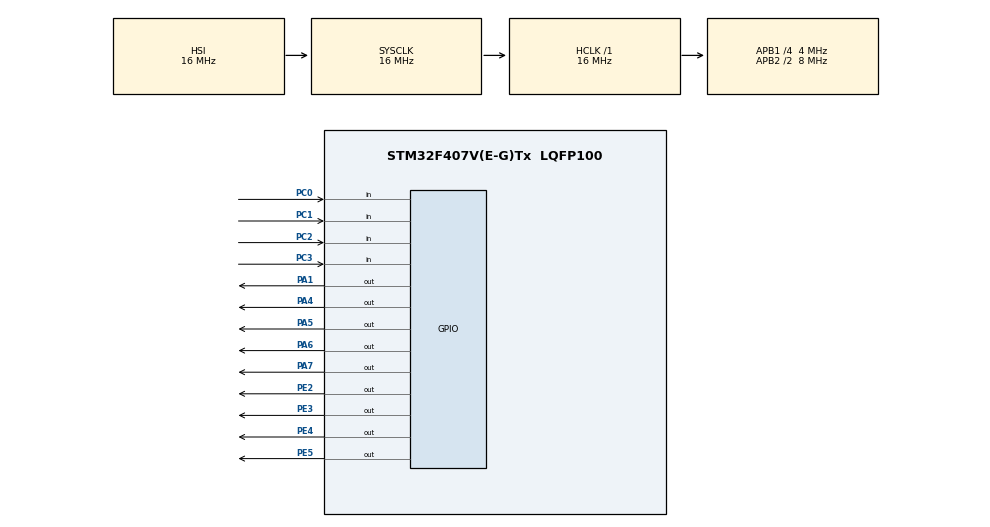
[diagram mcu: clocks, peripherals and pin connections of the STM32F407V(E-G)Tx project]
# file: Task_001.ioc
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Mcu.Family=STM32F4
Mcu.Name=STM32F407V(E-G)Tx
Mcu.Package=LQFP100
NVIC.PriorityGroup=NVIC_PRIORITYGROUP_4
NVIC.TIM6_DAC_IRQn=true\:15\:0\:true\:false\:true\:false\:true\:true
NVIC.TimeBase=TIM6_DAC_IRQn
NVIC.TimeBaseIP=TIM6
PA1.Signal=GPIO_Output
PA13.Mode=Serial_Wire
PA13.Signal=SYS_JTMS-SWDIO
PA14.Mode=Serial_Wire
PA14.Signal=SYS_JTCK-SWCLK
PA4.Signal=GPIO_Output
PA5.Signal=GPIO_Output
PA6.Signal=GPIO_Output
PA7.Signal=GPIO_Output
PC0.GPIO_PuPd=GPIO_PULLUP
PC0.Signal=GPIO_Input
PC1.GPIO_PuPd=GPIO_PULLUP
PC1.Signal=GPIO_Input
PC2.GPIO_PuPd=GPIO_PULLUP
PC2.Signal=GPIO_Input
PC3.GPIO_PuPd=GPIO_PULLUP
PC3.Signal=GPIO_Input
PE2.GPIO_PuPd=GPIO_NOPULL
PE2.Signal=GPIO_Output
PE3.GPIO_PuPd=GPIO_NOPULL
PE3.Signal=GPIO_Output
PE4.GPIO_PuPd=GPIO_NOPULL
PE4.Signal=GPIO_Output
PE5.GPIO_PuPd=GPIO_NOPULL
PE5.Signal=GPIO_Output
ProjectManager.HeapSize=0x200
ProjectManager.StackSize=0x400
ProjectManager.TargetToolchain=STM32CubeIDE
RCC.48MHZClocksFreq_Value=25000000
RCC.AHBFreq_Value=16000000
RCC.APB1CLKDivider=RCC_HCLK_DIV4
RCC.APB1Freq_Value=4000000
RCC.APB1TimFreq_Value=8000000
RCC.APB2CLKDivider=RCC_HCLK_DIV2
RCC.APB2Freq_Value=8000000
RCC.APB2TimFreq_Value=16000000
RCC.CortexFreq_Value=16000000
RCC.HCLKFreq_Value=16000000
RCC.HSE_VALUE=8000000
RCC.HSI_VALUE=16000000
RCC.LSE_VALUE=32768
RCC.PLLM=8
RCC.PLLN=50
RCC.SYSCLKFreq_VALUE=16000000
RCC.VCOOutputFreq_Value=100000000
RCC.VDD_VALUE=3.3
RTC.Date=16
RTC.Month=RTC_MONTH_OCTOBER
RTC.WeekDay=RTC_WEEKDAY_WEDNESDAY
RTC.Year=24
VP_RTC_VS_RTC_Activate.Mode=RTC_Enabled
VP_RTC_VS_RTC_Calendar.Mode=RTC_Calendar
VP_SYS_VS_tim6.Mode=TIM6
board=custom

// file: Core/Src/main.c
/* USER CODE BEGIN Header */
/**
  ******************************************************************************
  * @file           : main.c
  * @brief          : Main program body
  ******************************************************************************
  * @attention
  *
  * Copyright (c) 2024 STMicroelectronics.
  * All rights reserved.
  *
  * This software is licensed under terms that can be found in the LICENSE file
  * in the root directory of this software component.
  * If no LICENSE file comes with this software, it is provided AS-IS.
  *
  ******************************************************************************
  */
/* USER CODE END Header */
#include "main.h"

/* USER CODE BEGIN Includes */
#include <stdio.h>
#include <stdbool.h>
#include "FreeRTOS.h"
#include "task.h"
#include "queue.h"
#include "lcd.h"
#include "keypad.h"

/* USER CODE END Includes */

/* USER CODE BEGIN PD */
#define min(a, b) ((a) < (b) ? (a) : (b))

/* USER CODE END PD */

RTC_HandleTypeDef hrtc;

/* USER CODE BEGIN PV */
TaskHandle_t lcdTaskHandle;
TaskHandle_t keypadTaskHandle;
TaskHandle_t chronoTaskHandle;
TaskHandle_t timekeepingTaskHandle;
QueueHandle_t xQueue;  // Queue for sending keypress to the LCD task
RTC_HandleTypeDef hrtc;
enum Mode { TOD, SET_TIME_DATE, CHRONO } currentMode = TOD; // Mode tracking
bool chronoRunning = false;

// Time Variables
RTC_TimeTypeDef sTime;
RTC_DateTypeDef sDate;

char buffer[22];
uint32_t elapsedTime = 0, startTime = 0;

/* USER CODE END PV */

void SystemClock_Config(void);
static void MX_GPIO_Init(void);
static void MX_RTC_Init(void);
/* USER CODE BEGIN PFP */
void set_time(void);
static void task_LCD(void* parameters);
static void task_Keypad(void* parameters);
static void task_Chronograph(void* parameters);
static void vTask_Timekeeping(void* parameters);
int calculate_weekday(int day, int month, int year);
void displayTOD(void);
void displaySetTimeDate(void);
void displayChrono(void);
int getMaxDaysInMonth(int month, int year);
void setTodTime(RTC_TimeTypeDef syncTime, RTC_DateTypeDef syncDate);
// Constants for day names
const char *weekday[] = {"Mon", "Tue", "Wed", "Thu", "Fri","Sat", "Sun"};
// Static variables to track changes in time and date
static int prevDate = -1, prevMonth = -1, prevYear = -1;
static int prevHour = -1, prevMinute = -1, prevSecond = -1;

/* USER CODE END PFP */

int main(void)
{

  /* MCU Configuration--------------------------------------------------------*/

  /* Reset of all peripherals, Initializes the Flash interface and the Systick. */

  HAL_Init();

  /* Configure the system clock */
  SystemClock_Config();

  /* Initialize all configured peripherals */
  MX_GPIO_Init();
  MX_RTC_Init();
  /* USER CODE BEGIN 2 */
  // Initialize the LCD
  LCD_Init();
  //LCD_Send_String("Hello, World!");

  // Create a queue for communication between tasks
  xQueue = xQueueCreate(5, sizeof(char));  // Queue to hold keypresses
  configASSERT(xQueue != NULL);

  xTaskCreate(task_LCD, "LCD_Task", 200, NULL, 1, &lcdTaskHandle);
  xTaskCreate(task_Keypad, "Keypad_Task", 200, NULL, 1, &keypadTaskHandle);
  xTaskCreate(vTask_Timekeeping, "Timekeeping_Task", 200, NULL, 1, &timekeepingTaskHandle);
  xTaskCreate(task_Chronograph, "Chrono_Task", 200, NULL, 1, &chronoTaskHandle);

  //start the FreeRTOS scheduler
  vTaskStartScheduler();

  //if the control comes here, then the launch of the scheduler has failed due to insufficient memory in heap
  /* USER CODE END 2 */

  /* Infinite loop */
  while (1)
  {

  }
}

void SystemClock_Config(void)
{
  RCC_OscInitTypeDef RCC_OscInitStruct = {0};
  RCC_ClkInitTypeDef RCC_ClkInitStruct = {0};

  /** Configure the main internal regulator output voltage
  */
  __HAL_RCC_PWR_CLK_ENABLE();
  __HAL_PWR_VOLTAGESCALING_CONFIG(PWR_REGULATOR_VOLTAGE_SCALE1);

  /** Initializes the RCC Oscillators according to the specified parameters
  * in the RCC_OscInitTypeDef structure.
  */
  RCC_OscInitStruct.OscillatorType = RCC_OSCILLATORTYPE_HSI|RCC_OSCILLATORTYPE_LSI;
  RCC_OscInitStruct.HSIState = RCC_HSI_ON;
  RCC_OscInitStruct.HSICalibrationValue = RCC_HSICALIBRATION_DEFAULT;
  RCC_OscInitStruct.LSIState = RCC_LSI_ON;
  RCC_OscInitStruct.PLL.PLLState = RCC_PLL_NONE;
  if (HAL_RCC_OscConfig(&RCC_OscInitStruct) != HAL_OK)
  {
    Error_Handler();
  }

  /** Initializes the CPU, AHB and APB buses clocks
  */
  RCC_ClkInitStruct.ClockType = RCC_CLOCKTYPE_HCLK|RCC_CLOCKTYPE_SYSCLK
                              |RCC_CLOCKTYPE_PCLK1|RCC_CLOCKTYPE_PCLK2;
  RCC_ClkInitStruct.SYSCLKSource = RCC_SYSCLKSOURCE_HSI;
  RCC_ClkInitStruct.AHBCLKDivider = RCC_SYSCLK_DIV1;
  RCC_ClkInitStruct.APB1CLKDivider = RCC_HCLK_DIV4;
  RCC_ClkInitStruct.APB2CLKDivider = RCC_HCLK_DIV2;

  if (HAL_RCC_ClockConfig(&RCC_ClkInitStruct, FLASH_LATENCY_0) != HAL_OK)
  {
    Error_Handler();
  }
}

static void MX_RTC_Init(void)
{

  RTC_TimeTypeDef sTime = {0};
  RTC_DateTypeDef sDate = {0};

  /** Initialize RTC Only
  */
  hrtc.Instance = RTC;
  hrtc.Init.HourFormat = RTC_HOURFORMAT_24;
  hrtc.Init.AsynchPrediv = 127;
  hrtc.Init.SynchPrediv = 255;
  hrtc.Init.OutPut = RTC_OUTPUT_DISABLE;
  hrtc.Init.OutPutPolarity = RTC_OUTPUT_POLARITY_HIGH;
  hrtc.Init.OutPutType = RTC_OUTPUT_TYPE_OPENDRAIN;
  if (HAL_RTC_Init(&hrtc) != HAL_OK)
  {
    Error_Handler();
  }

  /** Initialize RTC and set the Time and Date
  */
  sTime.Hours = 0x0;
  sTime.Minutes = 0x0;
  sTime.Seconds = 0x0;
  sTime.DayLightSaving = RTC_DAYLIGHTSAVING_NONE;
  sTime.StoreOperation = RTC_STOREOPERATION_RESET;
  if (HAL_RTC_SetTime(&hrtc, &sTime, RTC_FORMAT_BCD) != HAL_OK)
  {
    Error_Handler();
  }
  sDate.WeekDay = RTC_WEEKDAY_WEDNESDAY;
  sDate.Month = RTC_MONTH_OCTOBER;
  sDate.Date = 0x16;
  sDate.Year = 0x24;

  if (HAL_RTC_SetDate(&hrtc, &sDate, RTC_FORMAT_BCD) != HAL_OK)
  {
    Error_Handler();
  }

}

static void MX_GPIO_Init(void)
{
  GPIO_InitTypeDef GPIO_InitStruct = {0};

  /* GPIO Ports Clock Enable */
  __HAL_RCC_GPIOE_CLK_ENABLE();
  __HAL_RCC_GPIOC_CLK_ENABLE();
  __HAL_RCC_GPIOA_CLK_ENABLE();

  /*Configure GPIO pin Output Level */
  HAL_GPIO_WritePin(GPIOE, GPIO_PIN_2|GPIO_PIN_3|GPIO_PIN_4|GPIO_PIN_5, GPIO_PIN_RESET);

  /*Configure GPIO pin Output Level */
  HAL_GPIO_WritePin(GPIOA, GPIO_PIN_1|GPIO_PIN_4|GPIO_PIN_5|GPIO_PIN_6
                          |GPIO_PIN_7, GPIO_PIN_RESET);

  /*Configure GPIO pins : PE2 PE3 PE4 PE5 */
  GPIO_InitStruct.Pin = GPIO_PIN_2|GPIO_PIN_3|GPIO_PIN_4|GPIO_PIN_5;
  GPIO_InitStruct.Mode = GPIO_MODE_OUTPUT_PP;
  GPIO_InitStruct.Pull = GPIO_NOPULL;
  GPIO_InitStruct.Speed = GPIO_SPEED_FREQ_LOW;
  HAL_GPIO_Init(GPIOE, &GPIO_InitStruct);

  /*Configure GPIO pins : PC0 PC1 PC2 PC3 */
  GPIO_InitStruct.Pin = GPIO_PIN_0|GPIO_PIN_1|GPIO_PIN_2|GPIO_PIN_3;
  GPIO_InitStruct.Mode = GPIO_MODE_INPUT;
  GPIO_InitStruct.Pull = GPIO_PULLUP;
  HAL_GPIO_Init(GPIOC, &GPIO_InitStruct);

  /*Configure GPIO pins : PA1 PA4 PA5 PA6
                           PA7 */
  GPIO_InitStruct.Pin = GPIO_PIN_1|GPIO_PIN_4|GPIO_PIN_5|GPIO_PIN_6
                          |GPIO_PIN_7;
  GPIO_InitStruct.Mode = GPIO_MODE_OUTPUT_PP;
  GPIO_InitStruct.Pull = GPIO_NOPULL;
  GPIO_InitStruct.Speed = GPIO_SPEED_FREQ_LOW;
  HAL_GPIO_Init(GPIOA, &GPIO_InitStruct);

}

/* USER CODE BEGIN 4 */

/* Timekeeping Task */
void vTask_Timekeeping(void *pvParameters) {
    TickType_t xLastWakeTime = xTaskGetTickCount();
    const TickType_t xFrequency = pdMS_TO_TICKS(100);  // 1-second interval

    for (;;) {
        // Update current time and date values from the RTC every second
        HAL_RTC_GetTime(&hrtc, &sTime, RTC_FORMAT_BIN);
        HAL_RTC_GetDate(&hrtc, &sDate, RTC_FORMAT_BIN);

        // Signal the display task to update the time display
        xTaskNotifyGive(lcdTaskHandle);

        // Delay until the next second
        vTaskDelayUntil(&xLastWakeTime, xFrequency);
    }
}

/* LCD Task */
static void task_LCD(void* parameters) {
	while (1) {
		switch (currentMode) {
			case TOD:
				displayTOD();
				break;
			case SET_TIME_DATE:
				displaySetTimeDate();
				break;
			case CHRONO:
				displayChrono();
				break;
		}
		//vTaskDelay(pdMS_TO_TICKS(500));
	}
}

/* Keypad Task */
static void task_Keypad(void* parameters){
	char key;
	while (1) {
		key = Keypad_GetKey();
		if (key != '\0') {
			xQueueSend(xQueue, &key, portMAX_DELAY);
		}
		vTaskDelay(pdMS_TO_TICKS(100));
	}
}

// Chronograph Task: Manages chrono timing
static void task_Chronograph(void* parameters) {
    while (1) {
        if (chronoRunning) {
            elapsedTime = HAL_GetTick() - startTime;
        }
        vTaskDelay(pdMS_TO_TICKS(10));
    }
}

// Static variable to track if the TOD display needs full refresh
static bool isTodInitialized = false;

void displayTOD(void) {
	// Wait for notification from the timekeeping task
	ulTaskNotifyTake(pdTRUE, portMAX_DELAY);

	// Array of weekday names
	char *weekday[] = {"Sun", "Mon", "Tue", "Wed", "Thu", "Fri", "Sat"};
	int currentWeekday = calculate_weekday(sDate.Date, sDate.Month, 2000 + sDate.Year);

	// Force an update of all fields if initializing
	if (!isTodInitialized) {
		prevDate = -1;  // Force date to update
		prevMonth = -1;
		prevYear = -1;
		prevHour = -1;
		prevMinute = -1;
		prevSecond = -1;
		isTodInitialized = true;
	}

	// 1. Update Date if it Changes
	if (sDate.Date != prevDate || sDate.Month != prevMonth || sDate.Year != prevYear) {
		sprintf(buffer, "   %s %02d/%02d/%04d   ", weekday[currentWeekday], sDate.Month, sDate.Date, 2000 + sDate.Year);
		LCD_Set_Cursor(0, 0);
		LCD_Send_String(buffer);

		// Store the new date values
		prevDate = sDate.Date;
		prevMonth = sDate.Month;
		prevYear = sDate.Year;
	}

	// 2. Update Hour and Minute if they Change
	int currentHour = sTime.Hours % 12 == 0 ? 12 : sTime.Hours % 12;
	if (currentHour != prevHour || sTime.Minutes != prevMinute) {
		sprintf(buffer, "    %02d:%02d %s    ", currentHour, sTime.Minutes, sTime.Hours < 12 ? "AM" : "PM");
		LCD_Set_Cursor(1, 0);
		LCD_Send_String(buffer);

		// Store the new hour and minute values
		prevHour = currentHour;
		prevMinute = sTime.Minutes;
	}

	// 3. Update Seconds Every Second
	if (sTime.Seconds != prevSecond) {
		sprintf(buffer, "    %02d:%02d:%02d %s    ", currentHour, sTime.Minutes, sTime.Seconds, sTime.Hours < 12 ? "AM" : "PM");
		LCD_Set_Cursor(1, 6);  // Update only the seconds part of the time
		LCD_Send_String(buffer + 6); // Send only the seconds part

		// Store the new second value
		prevSecond = sTime.Seconds;
	}

	// Display static control options only once
	// Display control options (once only)
	LCD_Set_Cursor(2, 0);
	LCD_Send_String("[A]Set    [C]Indiglo");
	LCD_Set_Cursor(3, 0);
	LCD_Send_String("[B]Mode   [D]Stp/Rst");

	// Handle user input for mode switching
	char key;
	if (xQueueReceive(xQueue, &key, 0)) {
		switch (key) {
			case 'A': currentMode = SET_TIME_DATE; break;
			case 'B': currentMode = CHRONO; break;
			case 'D':
				chronoRunning = !chronoRunning;
				if (chronoRunning) startTime = HAL_GetTick() - elapsedTime;
				break;
		}
	}

	// No need for delay here; waiting is handled by the task notification

}

// Display Set Time and Date Function
void displaySetTimeDate(void) {
    RTC_TimeTypeDef newTime;
    RTC_DateTypeDef newDate;

    // Initialize newTime and newDate to the current time and date
    HAL_RTC_GetTime(&hrtc, &newTime, RTC_FORMAT_BIN);
    HAL_RTC_GetDate(&hrtc, &newDate, RTC_FORMAT_BIN);

    char buffer[64];
    char receivedKey;
    int editingField = 6;  // 0: hour, 1: minute, 2: second, 3: day, 4: month, 5: year, 6: format
    static int timeFormat = 1; // 1 for 24-hour format, 0 for 12-hour format
    TickType_t lastKeyPressTime = xTaskGetTickCount();  // Track last key press for timeout

    LCD_Clear();

    while (1) {
    	// Fetch current time for updating seconds display
		RTC_TimeTypeDef currentTime;
		HAL_RTC_GetTime(&hrtc, &currentTime, RTC_FORMAT_BIN);

        // Auto-exit if idle for 10 seconds
        if (xTaskGetTickCount() - lastKeyPressTime > pdMS_TO_TICKS(10000)) {
            currentMode = TOD;
            isTodInitialized = false;
            break;
        }

        // Display the time with live seconds update
		int displayHours = newTime.Hours;
		char *ampm = "";

		if (timeFormat == 0) {  // 12-hour format
			ampm = "AM";
			if (displayHours >= 12) {
				ampm = "PM";
				if (displayHours > 12) {
					displayHours -= 12;
				}
			} else if (displayHours == 0) {
				displayHours = 12;  // Midnight case
			}
			sprintf(buffer, "Time: %02d:%02d:%02d %s", displayHours, newTime.Minutes, currentTime.Seconds, ampm);
		} else {  // 12-hour format
			sprintf(buffer, "Time: %02d:%02d:%02d   ", newTime.Hours, newTime.Minutes, currentTime.Seconds);
		}

        LCD_Set_Cursor(0, 0);
        LCD_Send_String(buffer); // Update whole time display

        // Display Date
		sprintf(buffer, "Date: %02d/%02d/%04d", newDate.Month, newDate.Date, 2000 + newDate.Year);
		LCD_Set_Cursor(1, 0);
		LCD_Send_String(buffer);

        LCD_Set_Cursor(2, 0);
        sprintf(buffer, "[B]%s     [C]++",
                editingField == 0 ? "Hour  " :
                editingField == 1 ? "Min   " :
                editingField == 2 ? "Sec   " :
                editingField == 3 ? "Day   " :
                editingField == 4 ? "Month " :
                editingField == 5 ? "Year  " : "Format");
        LCD_Send_String(buffer);

        LCD_Set_Cursor(3, 0);
        LCD_Send_String("[A]Done       [D]--");

        // Handle Keypresses
        if (xQueueReceive(xQueue, &receivedKey, 0)) {
            lastKeyPressTime = xTaskGetTickCount();  // Reset timeout on key press

            if (receivedKey == 'A') {
                // Save the time and date, and exit the function
                LCD_Clear();
                // Before saving, store the current running second in newTime.Seconds
                newTime.Seconds = currentTime.Seconds; // Save the running seconds value

                newDate.WeekDay = calculate_weekday(newDate.Date, newDate.Month, 2000 + newDate.Year);
                HAL_RTC_SetDate(&hrtc, &newDate, RTC_FORMAT_BIN);
                HAL_RTC_SetTime(&hrtc, &newTime, RTC_FORMAT_BIN);

                currentMode = TOD;
                isTodInitialized = false;  // Reset TOD initialization flag

                // Optional: Signal the timekeeping task to refresh the TOD display
                xTaskNotifyGive(lcdTaskHandle);
                break; // Exit the time-setting mode

            } else if (receivedKey == 'B') { // Next field
                editingField = (editingField + 1) % 7;
            } else if (receivedKey == 'C' || receivedKey == 'D') { // Increase or decrease current field
                int increment = (receivedKey == 'C') ? 1 : -1;

                if (editingField == 0) {  // Hour
                    newTime.Hours = (newTime.Hours + increment + 24) % 24;
                } else if (editingField == 1) {  // Minute
                    newTime.Minutes = (newTime.Minutes + increment + 60) % 60;
                } else if (editingField == 2) {  // Second
                	// Reset the seconds to zero when editing the seconds field
					newTime.Seconds = 0;
					currentTime.Seconds = 0;  // Ensure running seconds are also reset to zero
					HAL_RTC_SetTime(&hrtc, &newTime, RTC_FORMAT_BIN);
                } else if (editingField == 3) {  // Day
                    int maxDays = getMaxDaysInMonth(newDate.Month, 2000 + newDate.Year);
                    newDate.Date = (newDate.Date + increment + maxDays) % maxDays;
                    if (newDate.Date == 0) newDate.Date = maxDays;
                } else if (editingField == 4) {  // Month
                    newDate.Month = (newDate.Month + increment + 12) % 12;
                    if (newDate.Month == 0) newDate.Month = 12;
                    newDate.Date = min(newDate.Date, getMaxDaysInMonth(newDate.Month, 2000 + newDate.Year)); // Adjust day if it exceeds max
                } else if (editingField == 5) {  // Year
                    newDate.Year = (newDate.Year + increment + 100) % 100;
                } else if (editingField == 6) {  // Format
                    timeFormat = !timeFormat;
                }
            }
        }

        vTaskDelay(pdMS_TO_TICKS(100)); // Delay for debouncing
    }
}

// Helper Function to Get Max Days in Month
int getMaxDaysInMonth(int month, int year) {
    switch (month) {
        case 4: case 6: case 9: case 11: return 30;
        case 2: return (year % 4 == 0 && (year % 100 != 0 || year % 400 == 0)) ? 29 : 28;
        default: return 31;
    }
}

// Display Chronograph Function
void displayChrono(void) {
    static bool displayInitialized = false;  // Display header once
    static uint32_t splitTimes[10];  // Array to store up to 10 split times
    static int splitCount = 0;       // Number of saved splits
    static int currentSplitIndex = -1;  // Index for viewing splits

    // Display header and controls once
    if (!displayInitialized) {
        LCD_Set_Cursor(0, 0);
        LCD_Send_String("    CHRONOGRAPH     ");
        LCD_Set_Cursor(2, 0);
        LCD_Send_String("[A]   [C] |         ");
        LCD_Set_Cursor(2, 3);
        LCD_Send_Data(LCD_CHAR_PLAY);  // Display the play icon
        LCD_Set_Cursor(2, 4);
        LCD_Send_Data(LCD_CHAR_PAUSE);  // Display the pause icon
        LCD_Set_Cursor(2, 9);
        LCD_Send_Data(LCD_CHAR_FLAG);  // Display the flag icon
        LCD_Set_Cursor(3, 0);
        LCD_Send_String("[B]   [D] |         ");
        LCD_Set_Cursor(3, 3);
        LCD_Send_Data(LCD_CHAR_MODE);
        LCD_Set_Cursor(3, 9);
        LCD_Send_Data(LCD_CHAR_RESET);
        displayInitialized = true;
    }

    // Calculate and display chrono time
    uint32_t chronoTime = chronoRunning ? (HAL_GetTick() - startTime) : elapsedTime;
    uint32_t minutes = (chronoTime / 60000) % 60;
    uint32_t seconds = (chronoTime / 1000) % 60;
    uint32_t tenths = (chronoTime / 100) % 10;
    sprintf(buffer, " %02lu:%02lu.%01lu  |", minutes, seconds, tenths);
    LCD_Set_Cursor(1, 0);
    LCD_Send_String(buffer);

    // Display split times in (1,11), (2,11), and (3,11)
    for (int i = 0; i < 3; i++) {
        int splitIndex = currentSplitIndex - (2 - i);
        if (splitIndex >= 0 && splitIndex < splitCount) {
            uint32_t split = splitTimes[splitIndex];
            uint32_t splitMin = (split / 60000) % 60;
            uint32_t splitSec = (split / 1000) % 60;
            uint32_t splitTenth = (split / 100) % 10;
            sprintf(buffer, "%02lu:%02lu.%01lu", splitMin, splitSec, splitTenth);
            LCD_Set_Cursor(1 + i, 11);
            LCD_Send_String(buffer);
        } else {
            LCD_Set_Cursor(1 + i, 11);
            LCD_Send_String("--:--.-");  // Clear split display if no split selected
        }
    }

    // Handle keypad input
    char key;
    if (xQueueReceive(xQueue, &key, 0)) {
        if (key == 'D') {  // Reset chronograph
            elapsedTime = 0;
            splitCount = 0;
            currentSplitIndex = -1;
            LCD_Clear();
            displayInitialized = false;
        } else if (key == '#') {  // Scroll down through splits
            if (splitCount > 0) {
                currentSplitIndex = (currentSplitIndex + 1) % splitCount;
            }
        } else if (key == '*') {  // Scroll up through splits
            if (splitCount > 0) {
                currentSplitIndex = (currentSplitIndex - 1 + splitCount) % splitCount;
            }
        } else if (key == 'C') {  // Split key
            if (splitCount < 10 && chronoRunning) {
                splitTimes[splitCount++] = chronoTime;
                currentSplitIndex = splitCount - 1;
            }
        } else if (key == 'A') {  // Start/Stop chronograph
            chronoRunning = !chronoRunning;
            if (chronoRunning) {
                startTime = HAL_GetTick() - elapsedTime;
            }
        } else if (key == 'B') {  // Return to TOD mode
            LCD_Clear();
            currentMode = TOD;
            isTodInitialized = false;
            displayInitialized = false;
        }
    }

    // Small delay for smooth transitions
    vTaskDelay(pdMS_TO_TICKS(10));
}

// Function to calculate the day of the week
int calculate_weekday(int day, int month, int year) {
	// If the month is January or February, adjust the month and year
    if (month < 3) {
        month += 12;
        year -= 1;
    }
    // Zeller's Congruence formula
    int K = year % 100; // The year of the century
    int J = year / 100; // The zero-based century (actually floor(year/100))
    int weekday = (day + (13 * (month + 1)) / 5 + K + (K / 4) + (J / 4) + (5 * J)) % 7;

    // Convert to 0=Saturday, 1=Sunday, ..., 6=Friday to 0=Sunday, 1=Monday, ..., 6=Saturday
    return (weekday + 6) % 7; // Adjusting to make Sunday = 0
}

/* USER CODE END 4 */

void HAL_TIM_PeriodElapsedCallback(TIM_HandleTypeDef *htim)
{
  if (htim->Instance == TIM6) {
    HAL_IncTick();
  }
}

void Error_Handler(void)
{
  __disable_irq();
  while (1)
  {
  }
}
